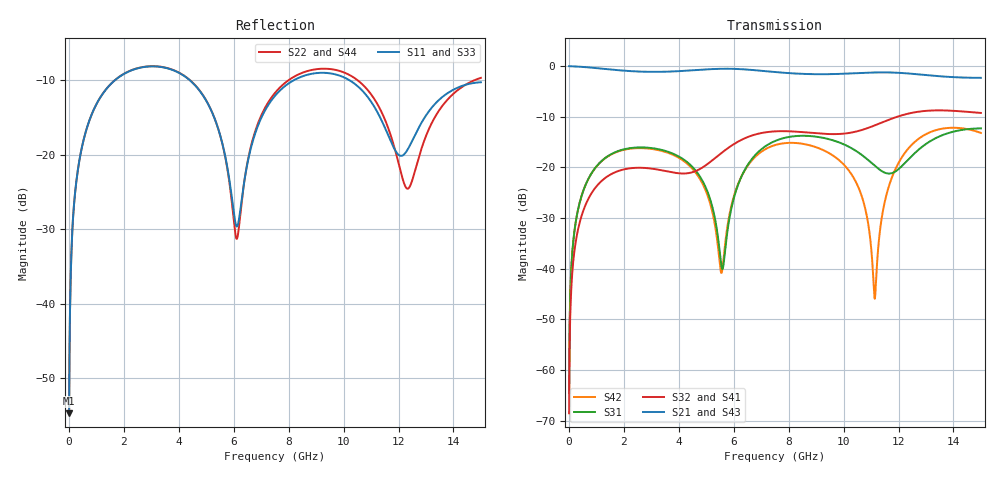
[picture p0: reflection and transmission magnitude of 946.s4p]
! Created with skrf 1.8.0 (http://scikit-rf.org).
# GHz S RI R 50.0
!freq ReS11 ImS11 ReS12 ImS12 ReS13 ImS13
! ReS14 ImS14
! ReS21 ImS21 ReS22 ImS22 ReS23 ImS23
! ReS24 ImS24
! ReS31 ImS31 ReS32 ImS32 ReS33 ImS33
! ReS34 ImS34
! ReS41 ImS41 ReS42 ImS42 ReS43 ImS43
! ReS44 ImS44
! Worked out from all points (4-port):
!   2499 points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, 5 MHz to 15 GHz, reference 50 ohm
!   strongest paths, dB at 5 MHz, 3.476 GHz, 7.19 GHz, 11.1 GHz, 15 GHz:
!     S21: 0.0, -1.1, -1.0, -1.3, -2.3
!     S43: 0.0, -1.1, -1.0, -1.3, -2.3
!     S32: -68.5, -20.7, -13.0, -11.8, -9.2
!     S41: -68.5, -20.7, -13.1, -11.8, -9.3
!     S31: -64.6, -16.7, -15.7, -19.5, -12.3
!     S42: -64.6, -16.9, -16.3, -43.5, -13.2
!   lowest |S11| = -54.7 dB at 5 MHz (marker M1), VSWR 1.00, Z = 50.1 + j0.112 ohm
!   |S11| at or under -10 dB: start of sweep to 1.666 GHz; 4.406 GHz to 8.175 GHz (3.769 GHz wide, 59.9 % of centre); 10.22 GHz to end of sweep
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0.005  0.00147 0.00112  0.9985 -0.00286  7.35e-05 0.000587  -7.14e-05 -0.000367
       0.9985 -0.00286  0.00147 0.00112  -7.14e-05 -0.000367  7.35e-05 0.000587
       7.35e-05 0.000587  -7.14e-05 -0.000367  0.00147 0.00112  0.9985 -0.00286
       -7.14e-05 -0.000367  7.35e-05 0.000587  0.9985 -0.00286  0.00147 0.00112
0.3126303  0.02 0.0741  0.9728 -0.1788  0.00921 0.0352  -0.00756 -0.0219
           0.9728 -0.1788  0.02 0.0741  -0.00756 -0.0219  0.00894 0.0353
           0.00921 0.0352  -0.00756 -0.0219  0.02 0.0741  0.9728 -0.1788
           -0.00756 -0.0219  0.00894 0.0353  0.9728 -0.1788  0.02 0.0741
1.519383  0.2303 0.1898  0.6299 -0.6778  0.1151 0.0694  -0.0832 -0.0191
          0.6299 -0.6778  0.2314 0.1893  -0.0832 -0.0191  0.1114 0.0734
          0.1151 0.0694  -0.0832 -0.0191  0.2303 0.1898  0.6299 -0.6778
          -0.0832 -0.0191  0.1114 0.0734  0.6299 -0.6778  0.2314 0.1893
5.921217  0.0353 -0.0401  -0.9273 -0.1564  -0.00297 0.0402  -0.0244 0.1623
          -0.9273 -0.1564  0.0294 -0.0402  -0.0245 0.1624  -0.00904 0.0417
          -0.00297 0.0402  -0.0245 0.1624  0.0342 -0.0411  -0.9272 -0.1564
          -0.0244 0.1623  -0.00904 0.0417  -0.9272 -0.1564  0.0308 -0.0408
9.522718  0.3511 -0.0307  0.0238 0.8329  0.13 -0.1361  0.2025 -0.0658
          0.0238 0.8329  0.3728 -0.0549  0.2027 -0.0662  0.1301 -0.0387
          0.13 -0.1361  0.2027 -0.0662  0.3518 -0.03  0.0246 0.8325
          0.2025 -0.0658  0.1301 -0.0387  0.0246 0.8325  0.3737 -0.0565
11.13589  0.1687 -0.1217  0.6376 0.585  -0.0662 -0.0801  0.1696 -0.1968
          0.6376 0.585  0.1613 -0.1704  0.1696 -0.197  0.00444 0.00243
          -0.0662 -0.0801  0.1696 -0.197  0.1687 -0.1243  0.6377 0.5842
          0.1696 -0.1968  0.00444 0.00243  0.6377 0.5842  0.1639 -0.1714
15  0.3072 0.00428  0.2942 -0.707  0.2245 -0.0922  -0.3392 -0.0478
    0.2942 -0.707  0.3259 0.0447  -0.3417 -0.0466  0.2188 -0.00733
    0.2245 -0.0922  -0.3417 -0.0466  0.3004 0.0108  0.2918 -0.7093
    -0.3392 -0.0478  0.2188 -0.00733  0.2918 -0.7093  0.3265 0.0338
